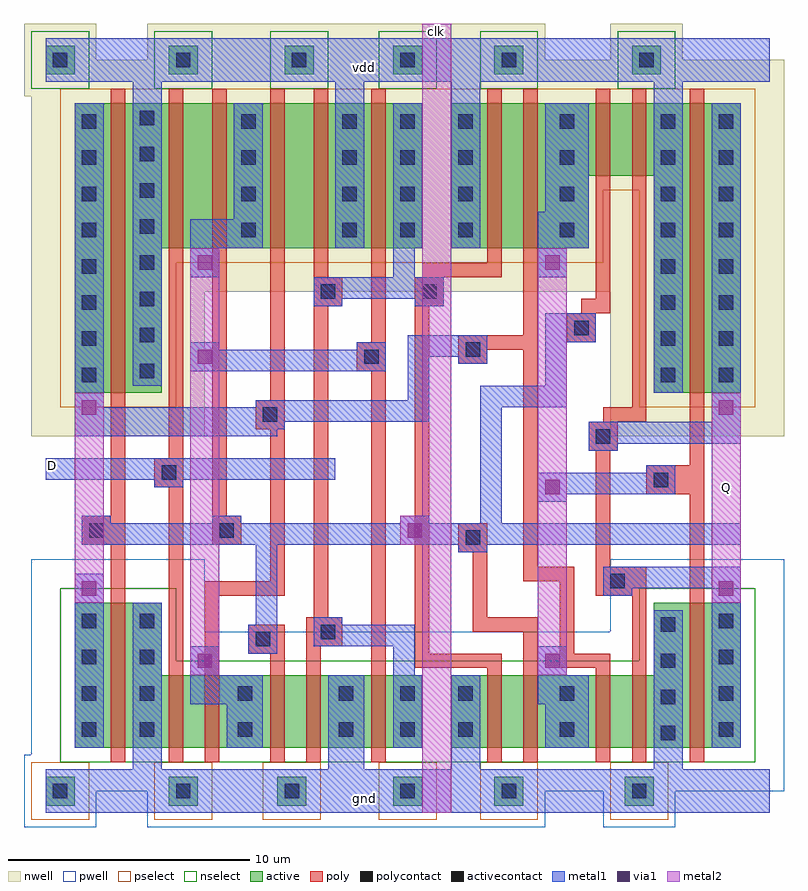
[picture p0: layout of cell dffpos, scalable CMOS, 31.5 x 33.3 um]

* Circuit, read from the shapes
.subckt dffpos D Q clk gnd vdd
M1 gnd clk n1 gnd nfet w=6u l=0.6u
M2 n2 D gnd gnd nfet w=3u l=0.6u
M3 n3 n1 n2 gnd nfet w=3u l=0.6u
M4 n4 clk n3 gnd nfet w=3u l=0.6u
M5 gnd n5 n4 gnd nfet w=3u l=0.6u
M6 n5 n3 gnd gnd nfet w=3u l=0.6u
M7 n6 n5 gnd gnd nfet w=3u l=0.6u
M8 n7 clk n6 gnd nfet w=3u l=0.6u
M9 n8 n1 n7 gnd nfet w=3u l=0.6u
M10 gnd Q n8 gnd nfet w=3u l=0.6u
M11 Q n7 gnd gnd nfet w=6u l=0.6u
M12 vdd clk n1 vdd pfet w=12u l=0.6u
M13 n9 D vdd vdd pfet w=6u l=0.6u
M14 n3 clk n9 vdd pfet w=6u l=0.6u
M15 n10 n1 n3 vdd pfet w=6u l=0.6u
M16 vdd n5 n10 vdd pfet w=6u l=0.6u
M17 n5 n3 vdd vdd pfet w=6u l=0.6u
M18 n11 n5 vdd vdd pfet w=6u l=0.6u
M19 n7 n1 n11 vdd pfet w=6u l=0.6u
M20 n12 clk n7 vdd pfet w=3u l=0.6u
M21 vdd Q n12 vdd pfet w=3u l=0.6u
M22 Q n7 vdd vdd pfet w=12u l=0.6u
.ends

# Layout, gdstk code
import gdstk
lib = gdstk.Library(unit=1e-6, precision=1e-09)
def R(c, l, rs):  # rectangles x0, y0, x1, y1
    for r in rs: c.add(gdstk.rectangle(r[:2], r[2:], *l))
def A(c, l, x, y, w, h, nx, ny, dx, dy):  # array of equal rectangles
    R(c, l, [(x+i*dx, y+j*dy, x+i*dx+w, y+j*dy+h) for i in range(nx) for j in range(ny)])
pwell = (41, 0)
nwell = (42, 0)
active = (43, 0)
pselect = (44, 0)
nselect = (45, 0)
poly = (46, 0)
polycontact = (47, 0)
activecontact = (48, 0)
metal1 = (49, 0)
via1 = (50, 0)
metal2 = (51, 0)

dffpos = lib.new_cell('dffpos')
R(dffpos, pwell, [(-12.3,-28.5,-9.3,-27), (-7.2,-28.5,9.3,-27), (11.7,-28.5,14.7,-27), (-12.3,-27,19.2,-25.5), (-12,-25.5,19.2,-20.4), (-12,-20.4,-4.8,-17.4), (12,-20.4,19.2,-17.4)])
R(dffpos, nwell, [(-12,-12.3,-4.8,-6.3), (12,-12.3,19.2,-6.3), (-12,-6.3,19.2,1.8), (-12.3,1.8,19.2,3.3), (-12.3,3.3,-9.3,4.8), (-7.2,3.3,9.3,4.8), (12,3.3,15,4.8)])
R(dffpos, active, [(-11.4,-27.6,-10.2,-26.4), (-6.3,-27.6,-5.1,-26.4), (-1.8,-27.6,-0.6,-26.4), (3,-27.6,4.2,-26.4), (7.2,-27.6,8.4,-26.4), (12.6,-27.6,13.8,-26.4), (-10.2,-25.2,4.2,-22.2), (5.4,-25.2,17.4,-22.2), (-10.2,-22.2,-6.6,-19.2), (13.8,-22.2,17.4,-19.2), (-10.2,-10.5,-6.6,-4.5), (13.8,-10.5,17.4,-1.5), (-10.2,-4.5,4.2,1.5), (5.4,-4.5,11.1,-1.5), (5.4,-1.5,17.4,1.5), (-11.4,2.7,-10.2,3.9), (-6.3,2.7,-5.1,3.9), (-1.5,2.7,-0.3,3.9), (3,2.7,4.2,3.9), (7.2,2.7,8.4,3.9), (12.9,2.7,14.1,3.9)])
R(dffpos, pselect, [(-12,-28.2,-9.6,-25.8), (-6.9,-28.2,-4.5,-25.8), (-2.4,-28.2,0,-25.8), (2.4,-28.2,4.8,-25.8), (6.6,-28.2,9,-25.8), (12,-28.2,14.4,-25.8), (-10.8,-11.1,-6,-5.1), (13.2,-11.1,18,-2.1), (-10.8,-5.1,11.7,-2.1), (-10.8,-2.1,18,2.1)])
R(dffpos, nselect, [(-10.8,-25.8,18,-21.6), (-10.8,-21.6,-6,-18.6), (13.2,-21.6,18,-18.6), (-12,2.1,-9.6,4.5), (-6.9,2.1,-4.5,4.5), (-2.1,2.1,0.3,4.5), (2.4,2.1,4.8,4.5), (6.6,2.1,9,4.5), (12.3,2.1,14.7,4.5)])
R(dffpos, poly, [(-8.7,-25.8,-8.1,-16.8), (-6.3,-25.8,-5.7,-14.4), (-4.8,-25.8,-4.2,-18.9), (-2.1,-25.8,-1.5,-21.3), (-0.6,-25.8,0,-21), (2.1,-25.8,2.7,-9.6), (6.9,-25.8,7.5,-21.9), (8.4,-25.8,9,-20.4), (11.4,-25.8,12,-21.9), (12.9,-25.8,13.5,-18.9), (15.3,-25.8,15.9,-14.7), (3.9,-21.9,7.5,-21.3), (9.9,-21.9,12,-21.3), (-3,-21.3,-1.5,-20.1), (3.9,-21.3,4.5,-6.9), (9.9,-21.3,10.5,-18.3), (-0.6,-21,0.9,-19.8), (6.3,-20.4,9,-19.8), (-0.3,-19.8,0.3,-6.9), (6.3,-19.8,6.9,-17.1), (-4.8,-18.9,-1.5,-18.3), (11.4,-18.9,13.5,-17.7), (-2.1,-18.3,-1.5,-12), (8.4,-18.3,10.5,-17.7), (8.4,-17.7,9,-8.7), (11.4,-17.7,12,-12.9), (5.7,-17.1,6.9,-15.9), (-9.9,-16.8,-8.1,-15.6), (-4.5,-16.8,-3.3,-15.6), (-8.7,-15.6,-8.1,2.1), (-4.5,-15.6,-3.9,2.1), (13.5,-14.7,15.9,-13.5), (-6.9,-14.4,-5.7,-13.2), (15.3,-13.5,15.9,2.1), (-6.3,-13.2,-5.7,2.1), (11.1,-12.9,12.3,-11.7), (-2.7,-12,-1.5,-10.8), (11.7,-11.7,13.5,-11.1), (12.9,-11.1,13.5,2.1), (-2.1,-10.8,-1.5,2.1), (1.5,-9.6,2.7,-8.4), (5.7,-9.3,6.9,-8.7), (5.7,-8.7,9,-8.1), (2.1,-8.4,2.7,2.1), (10.2,-8.4,11.4,-7.2), (8.4,-8.1,9,2.1), (10.8,-7.2,12,-6.6), (-0.3,-6.9,0.9,-5.7), (3.9,-6.9,5.1,-5.7), (11.4,-6.6,12,2.1), (-0.3,-5.7,0.3,2.1), (4.2,-5.7,7.5,-5.1), (6.9,-5.1,7.5,2.1)])
R(dffpos, polycontact, [(-2.7,-21,-2.1,-20.4), (0,-20.7,0.6,-20.1), (12,-18.6,12.6,-18), (6,-16.8,6.6,-16.2), (-9.6,-16.5,-9,-15.9), (-4.2,-16.5,-3.6,-15.9), (13.8,-14.4,14.4,-13.8), (-6.6,-14.1,-6,-13.5), (11.4,-12.6,12,-12), (-2.4,-11.7,-1.8,-11.1), (1.8,-9.3,2.4,-8.7), (6,-9,6.6,-8.4), (10.5,-8.1,11.1,-7.5), (0,-6.6,0.6,-6), (4.2,-6.6,4.8,-6)])
A(dffpos, activecontact, 14.1, -24.9, 0.6, 0.6, 1, 4, 0, 1.5)
A(dffpos, activecontact, -9.9, -24.75, 0.6, 0.6, 1, 4, 0, 1.5)
A(dffpos, activecontact, -7.5, -24.75, 0.6, 0.6, 1, 4, 0, 1.5)
A(dffpos, activecontact, 16.5, -24.75, 0.6, 0.6, 1, 4, 0, 1.5)
A(dffpos, activecontact, -9.9, -10.05, 0.6, 0.6, 1, 8, 0, 1.5)
A(dffpos, activecontact, 14.1, -10.05, 0.6, 0.6, 1, 8, 0, 1.5)
A(dffpos, activecontact, 16.5, -10.05, 0.6, 0.6, 1, 8, 0, 1.5)
A(dffpos, activecontact, -7.5, -9.9, 0.6, 0.6, 1, 8, 0, 1.5)
A(dffpos, activecontact, -3.3, -4.05, 0.6, 0.6, 1, 4, 0, 1.5)
A(dffpos, activecontact, 0.9, -4.05, 0.6, 0.6, 3, 4, 2.4, 1.5)
A(dffpos, activecontact, 9.9, -4.05, 0.6, 0.6, 1, 4, 0, 1.5)
R(dffpos, activecontact, [(-11.1,-27.3,-10.5,-26.7), (-6,-27.3,-5.4,-26.7), (-1.5,-27.3,-0.9,-26.7), (3.3,-27.3,3.9,-26.7), (7.5,-27.3,8.1,-26.7), (12.9,-27.3,13.5,-26.7), (-3.45,-24.75,-2.85,-24.15), (0.75,-24.75,1.35,-24.15), (3.3,-24.75,3.9,-24.15), (5.7,-24.75,6.3,-24.15), (9.9,-24.75,10.5,-24.15), (-3.45,-23.25,-2.85,-22.65), (0.75,-23.25,1.35,-22.65), (3.3,-23.25,3.9,-22.65), (5.7,-23.25,6.3,-22.65), (9.9,-23.25,10.5,-22.65), (-11.1,3,-10.5,3.6), (-6,3,-5.4,3.6), (-1.2,3,-0.6,3.6), (3.3,3,3.9,3.6), (7.5,3,8.1,3.6), (13.2,3,13.8,3.6)])
R(dffpos, metal1, [(-11.4,-27.9,18.6,-26.1), (-7.8,-26.1,-6.6,-19.2), (0.3,-26.1,1.8,-22.2), (5.4,-26.1,6.6,-22.2), (13.8,-26.1,15,-19.5), (-10.2,-25.2,-9,-18), (-3.9,-25.2,-2.4,-23.4), (3,-25.2,4.2,-22.2), (9.3,-25.2,11.1,-23.4), (16.2,-25.2,17.4,-18.6), (-5.4,-23.4,-2.4,-22.2), (9,-23.4,11.1,-22.2), (-5.4,-22.2,-4.2,-21), (3,-22.2,3.9,-21), (9,-22.2,10.2,-21), (-3,-21.3,-1.8,-20.1), (-0.3,-21,3.9,-20.1), (-2.7,-20.1,-1.8,-16.8), (-0.3,-20.1,0.9,-19.8), (11.7,-18.9,12.9,-18.6), (11.7,-18.6,17.4,-17.7), (5.7,-17.1,6.9,-16.8), (-9.9,-16.8,17.4,-15.9), (-9.9,-15.9,-8.7,-15.6), (-4.5,-15.9,-3.3,-15.6), (3.3,-15.9,4.5,-15.6), (6.6,-15.9,7.5,-11.1), (9,-15,10.2,-14.7), (9,-14.7,14.7,-13.8), (-6.9,-14.4,-5.7,-14.1), (-11.4,-14.1,0.6,-13.2), (13.5,-13.8,14.7,-13.5), (11.1,-12.9,12.3,-12.6), (11.1,-12.6,17.4,-11.7), (-10.2,-12.3,-1.8,-12), (-10.2,-12,-1.5,-11.7), (-10.2,-11.7,4.5,-11.1), (16.2,-11.7,17.4,1.5), (-10.2,-11.1,-9,1.5), (-2.7,-11.1,4.5,-10.8), (6.6,-11.1,10.2,-10.2), (3.6,-10.8,4.5,-9), (13.8,-10.5,15,2.4), (-7.8,-10.2,-6.6,2.4), (9.3,-10.2,10.2,-8.4), (-5.4,-9.6,2.7,-8.7), (5.7,-9.3,6.9,-9), (3.6,-9,6.9,-8.1), (-5.4,-8.7,-4.2,-8.4), (1.5,-8.7,2.7,-8.4), (9.3,-8.4,11.4,-7.2), (-0.3,-6.9,0.9,-6.6), (3.9,-6.9,5.1,-6.6), (-0.3,-6.6,5.1,-5.7), (-5.4,-5.7,-4.2,-4.5), (3,-5.7,3.9,-4.5), (9,-5.7,10.2,-4.5), (-5.4,-4.5,-2.4,-3.3), (0.6,-4.5,1.8,2.4), (3,-4.5,4.2,1.5), (5.4,-4.5,6.6,2.4), (9,-4.5,11.1,-3), (-3.6,-3.3,-2.4,1.5), (9.3,-3,11.1,1.5), (-11.4,2.4,18.6,4.2)])
R(dffpos, via1, [(-5.1,-21.9,-4.5,-21.3), (9.3,-21.9,9.9,-21.3), (-9.9,-18.9,-9.3,-18.3), (16.5,-18.9,17.1,-18.3), (3.6,-16.5,4.2,-15.9), (9.3,-14.7,9.9,-14.1), (-9.9,-11.4,-9.3,-10.8), (16.5,-11.4,17.1,-10.8), (-5.1,-9.3,-4.5,-8.7), (-5.1,-5.4,-4.5,-4.8), (9.3,-5.4,9.9,-4.8)])
R(dffpos, metal2, [(4.2,-27.9,5.4,-16.8), (-5.4,-22.2,-4.2,-4.5), (9,-22.2,10.2,-4.5), (-10.2,-19.2,-9,-10.5), (16.2,-19.2,17.4,-10.5), (3.3,-16.8,5.4,-15.6), (4.2,-15.6,5.4,4.8)])
dffpos.add(gdstk.Label('vdd', (1.8,3), layer=49, texttype=0))
dffpos.add(gdstk.Label('gnd', (1.8,-27.3), layer=49, texttype=0))
dffpos.add(gdstk.Label('D', (-11.1,-13.5), layer=49, texttype=0))
dffpos.add(gdstk.Label('Q', (16.8,-14.4), layer=51, texttype=0))
dffpos.add(gdstk.Label('clk', (4.8,4.5), layer=51, texttype=0))

lib.write_gds('dffpos.gds')
